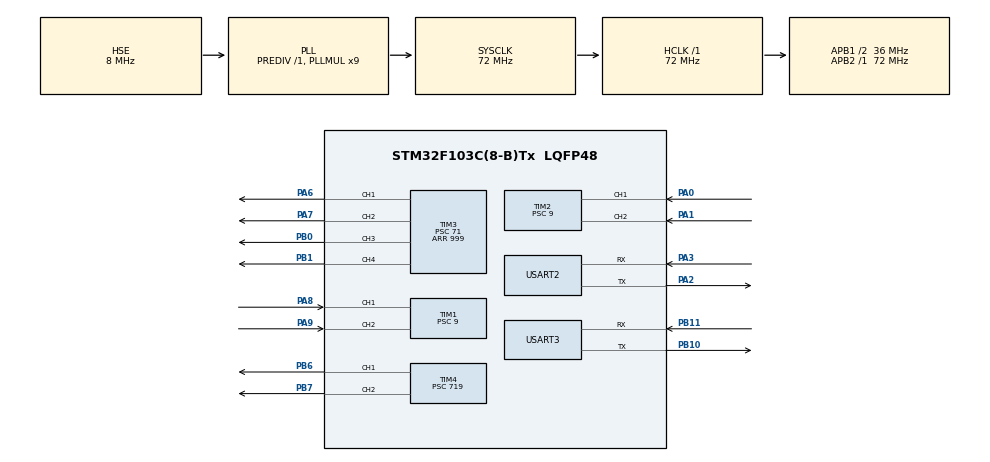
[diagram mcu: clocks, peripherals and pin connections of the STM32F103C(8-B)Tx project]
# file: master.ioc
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Dma.Request0=USART2_RX
Dma.Request1=USART2_TX
Dma.Request2=USART3_RX
Dma.Request3=USART3_TX
Dma.USART2_RX.0.Direction=DMA_PERIPH_TO_MEMORY
Dma.USART2_RX.0.Instance=DMA1_Channel6
Dma.USART2_RX.0.MemDataAlignment=DMA_MDATAALIGN_BYTE
Dma.USART2_RX.0.MemInc=DMA_MINC_ENABLE
Dma.USART2_RX.0.Mode=DMA_NORMAL
Dma.USART2_RX.0.PeriphDataAlignment=DMA_PDATAALIGN_BYTE
Dma.USART2_RX.0.PeriphInc=DMA_PINC_DISABLE
Dma.USART2_RX.0.Priority=DMA_PRIORITY_LOW
Dma.USART2_TX.1.Direction=DMA_MEMORY_TO_PERIPH
Dma.USART2_TX.1.Instance=DMA1_Channel7
Dma.USART2_TX.1.MemDataAlignment=DMA_MDATAALIGN_BYTE
Dma.USART2_TX.1.MemInc=DMA_MINC_ENABLE
Dma.USART2_TX.1.Mode=DMA_NORMAL
Dma.USART2_TX.1.PeriphDataAlignment=DMA_PDATAALIGN_BYTE
Dma.USART2_TX.1.PeriphInc=DMA_PINC_DISABLE
Dma.USART2_TX.1.Priority=DMA_PRIORITY_LOW
Dma.USART3_RX.2.Direction=DMA_PERIPH_TO_MEMORY
Dma.USART3_RX.2.Instance=DMA1_Channel3
Dma.USART3_RX.2.MemDataAlignment=DMA_MDATAALIGN_BYTE
Dma.USART3_RX.2.MemInc=DMA_MINC_ENABLE
Dma.USART3_RX.2.Mode=DMA_NORMAL
Dma.USART3_RX.2.PeriphDataAlignment=DMA_PDATAALIGN_BYTE
Dma.USART3_RX.2.PeriphInc=DMA_PINC_DISABLE
Dma.USART3_RX.2.Priority=DMA_PRIORITY_LOW
Dma.USART3_TX.3.Direction=DMA_MEMORY_TO_PERIPH
Dma.USART3_TX.3.Instance=DMA1_Channel2
Dma.USART3_TX.3.MemDataAlignment=DMA_MDATAALIGN_BYTE
Dma.USART3_TX.3.MemInc=DMA_MINC_ENABLE
Dma.USART3_TX.3.Mode=DMA_NORMAL
Dma.USART3_TX.3.PeriphDataAlignment=DMA_PDATAALIGN_BYTE
Dma.USART3_TX.3.PeriphInc=DMA_PINC_DISABLE
Dma.USART3_TX.3.Priority=DMA_PRIORITY_LOW
Mcu.Family=STM32F1
Mcu.Name=STM32F103C(8-B)Tx
Mcu.Package=LQFP48
NVIC.DMA1_Channel2_IRQn=true\:0\:0\:false\:false\:true\:false\:true\:true
NVIC.DMA1_Channel3_IRQn=true\:0\:0\:false\:false\:true\:false\:true\:true
NVIC.DMA1_Channel6_IRQn=true\:0\:0\:false\:false\:true\:false\:true\:true
NVIC.DMA1_Channel7_IRQn=true\:0\:0\:false\:false\:true\:false\:true\:true
NVIC.PriorityGroup=NVIC_PRIORITYGROUP_4
NVIC.USART2_IRQn=true\:0\:0\:false\:false\:true\:true\:true\:true
NVIC.USART3_IRQn=true\:0\:0\:false\:false\:true\:true\:true\:true
PA0-WKUP.Signal=S_TIM2_CH1_ETR
PA1.Signal=S_TIM2_CH2
PA13.Mode=Serial_Wire
PA13.Signal=SYS_JTMS-SWDIO
PA14.Mode=Serial_Wire
PA14.Signal=SYS_JTCK-SWCLK
PA2.Mode=Asynchronous
PA2.Signal=USART2_TX
PA3.Mode=Asynchronous
PA3.Signal=USART2_RX
PA6.Signal=S_TIM3_CH1
PA7.Signal=S_TIM3_CH2
PA8.Signal=S_TIM1_CH1
PA9.Signal=S_TIM1_CH2
PB0.Signal=S_TIM3_CH3
PB1.Signal=S_TIM3_CH4
PB10.Mode=Asynchronous
PB10.Signal=USART3_TX
PB11.Mode=Asynchronous
PB11.Signal=USART3_RX
PB6.Signal=S_TIM4_CH1
PB7.Signal=S_TIM4_CH2
PD0-OSC_IN.Mode=HSE-External-Oscillator
PD0-OSC_IN.Signal=RCC_OSC_IN
PD1-OSC_OUT.Mode=HSE-External-Oscillator
PD1-OSC_OUT.Signal=RCC_OSC_OUT
ProjectManager.HeapSize=0x200
ProjectManager.StackSize=0x400
ProjectManager.TargetToolchain=MDK-ARM V5.32
RCC.AHBFreq_Value=72000000
RCC.APB1CLKDivider=RCC_HCLK_DIV2
RCC.APB1Freq_Value=36000000
RCC.APB1TimFreq_Value=72000000
RCC.APB2Freq_Value=72000000
RCC.APB2TimFreq_Value=72000000
RCC.HCLKFreq_Value=72000000
RCC.PLLMUL=RCC_PLL_MUL9
RCC.PLLSourceVirtual=RCC_PLLSOURCE_HSE
RCC.SYSCLKFreq_VALUE=72000000
RCC.SYSCLKSource=RCC_SYSCLKSOURCE_PLLCLK
RCC.USBFreq_Value=72000000
SH.S_TIM1_CH1.0=TIM1_CH1,Encoder_Interface
SH.S_TIM1_CH2.0=TIM1_CH2,Encoder_Interface
SH.S_TIM2_CH1_ETR.0=TIM2_CH1,Encoder_Interface
SH.S_TIM2_CH2.0=TIM2_CH2,Encoder_Interface
SH.S_TIM3_CH1.0=TIM3_CH1,PWM Generation1 CH1
SH.S_TIM3_CH2.0=TIM3_CH2,PWM Generation2 CH2
SH.S_TIM3_CH3.0=TIM3_CH3,PWM Generation3 CH3
SH.S_TIM3_CH4.0=TIM3_CH4,PWM Generation4 CH4
SH.S_TIM4_CH1.0=TIM4_CH1,PWM Generation1 CH1
SH.S_TIM4_CH2.0=TIM4_CH2,PWM Generation2 CH2
TIM1.EncoderMode=TIM_ENCODERMODE_TI1
TIM1.Prescaler=9
TIM2.Prescaler=9
TIM3.Channel-PWM\ Generation1\ CH1=TIM_CHANNEL_1
TIM3.Channel-PWM\ Generation2\ CH2=TIM_CHANNEL_2
TIM3.Channel-PWM\ Generation3\ CH3=TIM_CHANNEL_3
TIM3.Channel-PWM\ Generation4\ CH4=TIM_CHANNEL_4
TIM3.Period=999
TIM3.Prescaler=71
TIM4.Channel-PWM\ Generation1\ CH1=TIM_CHANNEL_1
TIM4.Channel-PWM\ Generation2\ CH2=TIM_CHANNEL_2
TIM4.Period=1999
TIM4.Prescaler=719
USART2.VirtualMode=VM_ASYNC
USART3.VirtualMode=VM_ASYNC
VP_TIM3_VS_ClockSourceINT.Mode=Internal
VP_TIM4_VS_ClockSourceINT.Mode=Internal
board=custom

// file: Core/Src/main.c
/* USER CODE BEGIN Header */
/**
  ******************************************************************************
  * @file           : main.c
  * @brief          : Main program body
  ******************************************************************************
  * @attention
  *
  * Copyright (c) 2025 STMicroelectronics.
  * All rights reserved.
  *
  * This software is licensed under terms that can be found in the LICENSE file
  * in the root directory of this software component.
  * If no LICENSE file comes with this software, it is provided AS-IS.
  *
  ******************************************************************************
  */
/* USER CODE END Header */
#include "main.h"
#include "dma.h"
#include "tim.h"
#include "usart.h"
#include "gpio.h"

/* USER CODE BEGIN Includes */
#include "system_init.h"
#include "schedule.h"
#include "app_chassis.h"

/* USER CODE END Includes */

void SystemClock_Config(void);

/* USER CODE BEGIN 0 */
CHASSIS chassis;
/* USER CODE END 0 */

int main(void)
{

  /* MCU Configuration--------------------------------------------------------*/

  /* Reset of all peripherals, Initializes the Flash interface and the Systick. */
  HAL_Init();

  /* Configure the system clock */
  SystemClock_Config();

  /* Initialize all configured peripherals */
  MX_GPIO_Init();
  MX_DMA_Init();
  MX_TIM1_Init();
  MX_TIM2_Init();
  MX_TIM3_Init();
  MX_TIM4_Init();
  MX_USART2_UART_Init();
  MX_USART3_UART_Init();
  /* USER CODE BEGIN 2 */
	HAL_TIM_Encoder_Start(&htim1,TIM_CHANNEL_ALL);
//HAL_TIM_Encoder_Start(&htim1,TIM_CHANNEL_2);
	HAL_TIM_Encoder_Start(&htim2,TIM_CHANNEL_ALL);
	//HAL_TIM_PWM_Start(&htim3,TIM_CHANNEL_ALL);
	HAL_TIM_PWM_Start(&htim3,TIM_CHANNEL_1);
	HAL_TIM_PWM_Start(&htim3,TIM_CHANNEL_2);
	HAL_TIM_PWM_Start(&htim3,TIM_CHANNEL_3);
	HAL_TIM_PWM_Start(&htim3,TIM_CHANNEL_4);
	HAL_TIM_PWM_Start(&htim4,TIM_CHANNEL_1);
	HAL_TIM_PWM_Start(&htim4,TIM_CHANNEL_2);
	scheduler_init();
	chassis.Chassis_Init();
  /* USER CODE END 2 */

  /* Infinite loop */
  while (1)
  {

    /* USER CODE BEGIN 3 */
  	scheduler_run();
  }
  /* USER CODE END 3 */
}

void SystemClock_Config(void)
{
  RCC_OscInitTypeDef RCC_OscInitStruct = {0};
  RCC_ClkInitTypeDef RCC_ClkInitStruct = {0};

  /** Initializes the RCC Oscillators according to the specified parameters
  * in the RCC_OscInitTypeDef structure.
  */
  RCC_OscInitStruct.OscillatorType = RCC_OSCILLATORTYPE_HSE;
  RCC_OscInitStruct.HSEState = RCC_HSE_ON;
  RCC_OscInitStruct.HSEPredivValue = RCC_HSE_PREDIV_DIV1;
  RCC_OscInitStruct.HSIState = RCC_HSI_ON;
  RCC_OscInitStruct.PLL.PLLState = RCC_PLL_ON;
  RCC_OscInitStruct.PLL.PLLSource = RCC_PLLSOURCE_HSE;
  RCC_OscInitStruct.PLL.PLLMUL = RCC_PLL_MUL9;
  if (HAL_RCC_OscConfig(&RCC_OscInitStruct) != HAL_OK)
  {
    Error_Handler();
  }

  /** Initializes the CPU, AHB and APB buses clocks
  */
  RCC_ClkInitStruct.ClockType = RCC_CLOCKTYPE_HCLK|RCC_CLOCKTYPE_SYSCLK
                              |RCC_CLOCKTYPE_PCLK1|RCC_CLOCKTYPE_PCLK2;
  RCC_ClkInitStruct.SYSCLKSource = RCC_SYSCLKSOURCE_PLLCLK;
  RCC_ClkInitStruct.AHBCLKDivider = RCC_SYSCLK_DIV1;
  RCC_ClkInitStruct.APB1CLKDivider = RCC_HCLK_DIV2;
  RCC_ClkInitStruct.APB2CLKDivider = RCC_HCLK_DIV1;

  if (HAL_RCC_ClockConfig(&RCC_ClkInitStruct, FLASH_LATENCY_2) != HAL_OK)
  {
    Error_Handler();
  }
}

void Error_Handler(void)
{
  __disable_irq();
  while (1)
  {
  }
}
